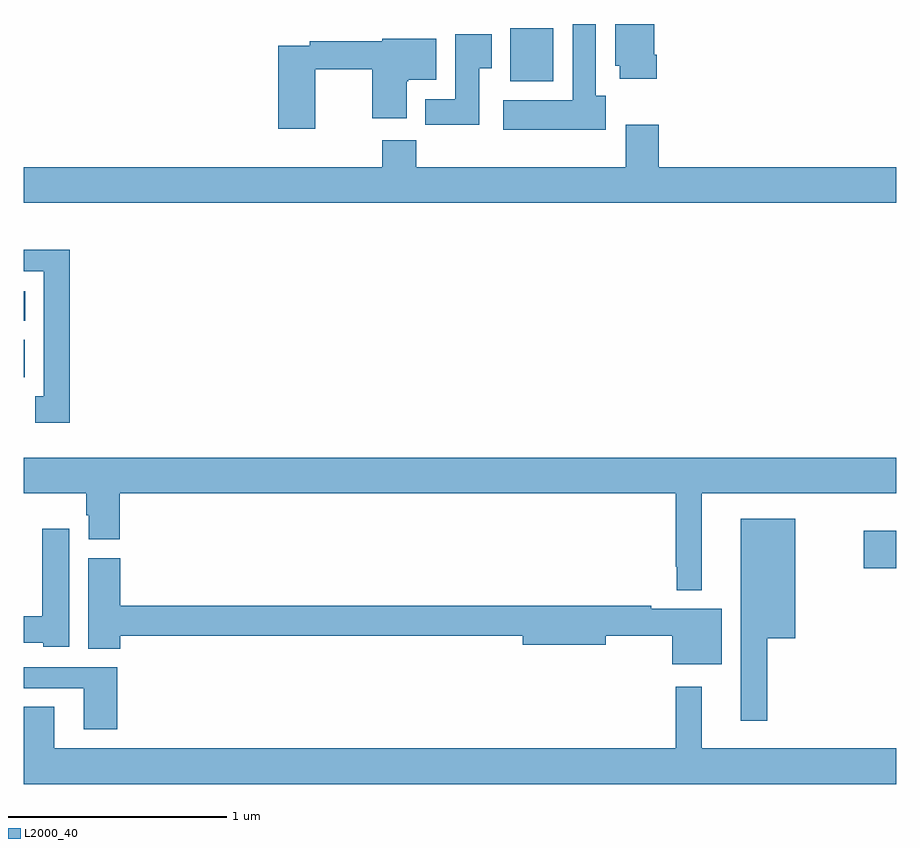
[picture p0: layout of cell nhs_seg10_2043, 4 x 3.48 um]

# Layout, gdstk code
import gdstk
lib = gdstk.Library(unit=1e-6, precision=1e-09)
def R(c, l, rs):  # rectangles x0, y0, x1, y1
    for r in rs: c.add(gdstk.rectangle(r[:2], r[2:], *l))
def P(c, l, *ps):  # polygons
    for p in ps: c.add(gdstk.Polygon(p, *l))
L2000_40 = (2000, 40)

nhs_seg10_2043 = lib.new_cell('nhs_seg10_2043')
R(nhs_seg10_2043, L2000_40, [(222.852,1268.006,223,1268.176), (219,1268.88,219.004,1269.052), (219,1269.14,219.007,1269.274), (221.231,1270.238,221.428,1270.48)])
P(nhs_seg10_2043, L2000_40, [(221.903,1270.36),(221.89,1270.36),(221.89,1270.5),(221.711,1270.5),(221.711,1270.308),(221.732,1270.308),(221.732,1270.248),(221.903,1270.248)],
  [(221.668,1270.17),(221.623,1270.17),(221.623,1270.5),(221.516,1270.5),(221.516,1270.15),(221.199,1270.15),(221.199,1270.016),(221.668,1270.016)],
  [(221.089,1270.297),(221.146,1270.297),(221.146,1270.453),(220.979,1270.453),(220.979,1270.156),(220.841,1270.156),(220.841,1270.038),(221.089,1270.038)],
  [(220.336,1270.293),(220.598,1270.293),(220.598,1270.068),(220.756,1270.068),(220.756,1270.238),(220.762,1270.238),(220.762,1270.244),(220.891,1270.244),(220.891,1270.432),(220.644,1270.432),(220.644,1270.421),(220.312,1270.421),(220.312,1270.401),(220.166,1270.401),(220.166,1270.02),(220.336,1270.02)],
  [(223,1269.844),(221.912,1269.844),(221.912,1270.039),(221.759,1270.039),(221.759,1269.844),(220.799,1269.844),(220.799,1269.968),(220.643,1269.968),(220.643,1269.844),(219,1269.844),(219,1269.68),(223,1269.68)],
  [(219.211,1269.464),(219,1269.464),(219,1269.366),(219.092,1269.366),(219.092,1268.793),(219.053,1268.793),(219.053,1268.673),(219.211,1268.673)],
  [(222.109,1268.348),(223,1268.348),(223,1268.512),(219,1268.512),(219,1268.348),(219.287,1268.348),(219.287,1268.247),(219.299,1268.247),(219.299,1268.137),(219.44,1268.137),(219.44,1268.348),(221.988,1268.348),(221.988,1268.011),(221.994,1268.011),(221.994,1267.904),(222.109,1267.904)],
  [(222.409,1267.685),(222.538,1267.685),(222.538,1268.233),(222.287,1268.233),(222.287,1267.305),(222.409,1267.305)],
  [(219.208,1268.185),(219.086,1268.185),(219.086,1267.786),(219,1267.786),(219,1267.664),(219.09,1267.664),(219.09,1267.646),(219.208,1267.646)],
  [(222.199,1267.819),(221.876,1267.819),(221.876,1267.832),(219.443,1267.832),(219.443,1268.052),(219.296,1268.052),(219.296,1267.636),(219.443,1267.636),(219.443,1267.696),(221.288,1267.696),(221.288,1267.654),(221.668,1267.654),(221.668,1267.696),(221.972,1267.696),(221.972,1267.565),(222.199,1267.565)],
  [(219.428,1267.551),(219,1267.551),(219,1267.455),(219.275,1267.455),(219.275,1267.266),(219.428,1267.266)],
  [(223,1267.18),(222.109,1267.18),(222.109,1267.462),(221.988,1267.462),(221.988,1267.18),(219.139,1267.18),(219.139,1267.37),(219,1267.37),(219,1267.016),(223,1267.016)])

lib.write_gds('nhs_seg10_2043.gds')
